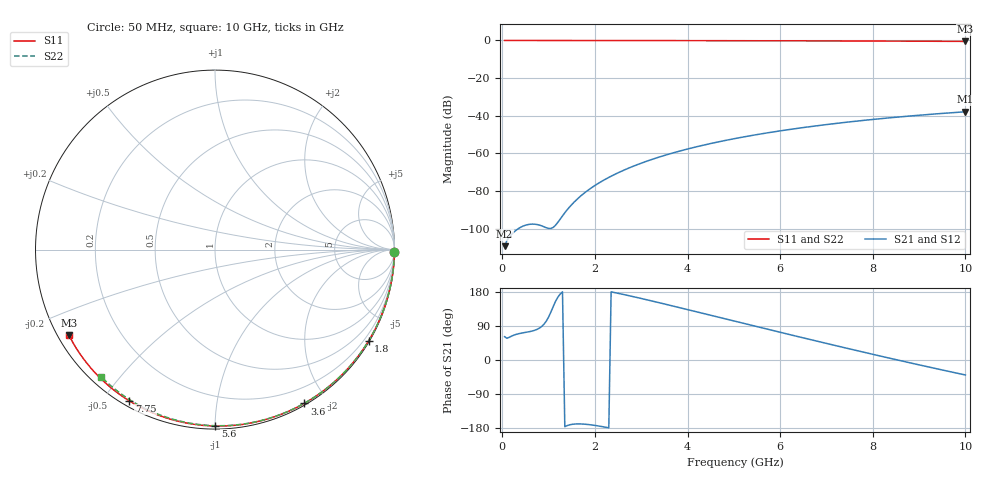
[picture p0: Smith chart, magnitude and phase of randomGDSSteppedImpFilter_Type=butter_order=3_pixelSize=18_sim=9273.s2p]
! freq	dB(S11)	phase(S11)	dB(S12)	phase(S12)
!  dB(S21)	phase(S21)	dB(S22)	phase(S22)
!S-par simulation data
#  GHz  S  DB  R 50
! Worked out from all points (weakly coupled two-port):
!   200 points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, 50 MHz to 10 GHz, reference 50 ohm
!   highest |S21| = -37.87 dB at 10 GHz (marker M1); lowest = -109.2 dB at 50 MHz (marker M2)
!   lowest |S11| = -0.5 dB at 10 GHz (marker M3), VSWR 34.28, Z = 1.57 - j13.6 ohm
!   |S11| at or under -10 dB: nowhere
!   |S22| runs from -0.4 to 0.0 dB; largest |S21 - S12| = 0
!   S11 on the Smith chart (normalised r, x): 50 MHz: open; 1.8 GHz: 0.03, -3.64; 3.6 GHz: 0.02, -1.74; 5.6 GHz: 0.02, -1.00; 7.75 GHz: 0.02, -0.58; 10 GHz: 0.03, -0.27
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0.05  -0.00 -0.9  -109.25 61.5  -109.25 61.5  -0.00 -0.8
0.45  -0.01 -7.8  -98.57 71.8  -98.57 71.8  -0.01 -6.9
0.9  -0.02 -15.5  -98.94 94.4  -98.94 94.4  -0.02 -13.6
1.3  -0.03 -22.3  -93.16 179.9  -93.16 179.9  -0.02 -19.6
1.75  -0.04 -29.9  -81.44 -169.1  -81.44 -169.1  -0.03 -26.3
1.8  -0.04 -30.7  -80.47 -169.6  -80.47 -169.6  -0.03 -27.0
1.85  -0.04 -31.5  -79.55 -170.2  -79.55 -170.2  -0.04 -27.8
2.05  -0.04 -34.9  -76.23 -173.5  -76.23 -173.5  -0.04 -30.7
2.2  -0.05 -37.4  -74.07 -176.7  -74.07 -176.7  -0.04 -32.9
2.55  -0.06 -43.1  -69.71 174.7  -69.71 174.7  -0.05 -38.0
2.95  -0.06 -49.6  -65.63 163.8  -65.63 163.8  -0.06 -43.7
3.4  -0.08 -56.7  -61.82 150.8  -61.82 150.8  -0.07 -50.1
3.6  -0.08 -59.9  -60.33 144.9  -60.33 144.9  -0.07 -52.8
4.3  -0.10 -70.7  -55.84 124.0  -55.84 124.0  -0.09 -62.5
5.05  -0.13 -81.9  -51.97 101.5  -51.97 101.5  -0.11 -72.4
5.6  -0.15 -89.8  -49.57 85.0  -49.57 85.0  -0.13 -79.6
6.15  -0.17 -97.7  -47.46 68.7  -47.46 68.7  -0.15 -86.5
6.7  -0.21 -105.3  -45.60 52.5  -45.60 52.5  -0.18 -93.4
7.75  -0.28 -119.6  -42.57 22.1  -42.57 22.1  -0.24 -106.0
8.35  -0.33 -127.6  -41.11 5.1  -41.11 5.1  -0.29 -113.0
9.2  -0.41 -138.9  -39.31 -18.3  -39.31 -18.3  -0.36 -122.8
10  -0.51 -149.6  -37.87 -39.5  -37.87 -39.5  -0.44 -131.9
